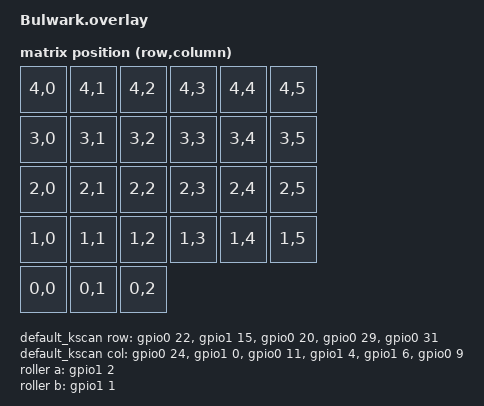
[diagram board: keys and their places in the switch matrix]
#include <dt-bindings/zmk/matrix_transform.h>

/ {

    //===========================================================

    chosen {
         zmk,kscan = &default_kscan;
         zmk,matrix_transform = &default_transform;
    };
    
    //===========================================================
    
    default_kscan: kscan {
        compatible = "zmk,kscan-gpio-matrix";
        label = "default_kscan";
        wakeup-source;
        
        diode-direction = "col2row";
        
        row-gpios
            = <&gpio0 22 (GPIO_ACTIVE_HIGH | GPIO_PULL_DOWN)> //Row 0 (D4)
            , <&gpio1 15 (GPIO_ACTIVE_HIGH | GPIO_PULL_DOWN)> //Row 1 (D18)
            , <&gpio0 20 (GPIO_ACTIVE_HIGH | GPIO_PULL_DOWN)> //Row 2 (D19)
            , <&gpio0 29 (GPIO_ACTIVE_HIGH | GPIO_PULL_DOWN)> //Row 3 (D20)
            , <&gpio0 31 (GPIO_ACTIVE_HIGH | GPIO_PULL_DOWN)> //Row 4 (D21)
            ;
        
        col-gpios
            = <&gpio0 24 (GPIO_ACTIVE_HIGH)> //Col 0 (D5)
            , <&gpio1 0  (GPIO_ACTIVE_HIGH)> //Col 1 (D6)
            , <&gpio0 11 (GPIO_ACTIVE_HIGH)> //Col 2 (D7)
            , <&gpio1 4  (GPIO_ACTIVE_HIGH)> //Col 3 (D8)
            , <&gpio1 6  (GPIO_ACTIVE_HIGH)> //Col 4 (D9)
            , <&gpio0 9  (GPIO_ACTIVE_HIGH)> //Col 5 (D10)
            ;
    };
    
    //===========================================================
    
    default_transform: matrix_transform {
        compatible = "zmk,matrix-transform";
        rows = <5>;
        columns = <6>;

// | R4C0 |  R4C1 |  R4C2 |  R4C3 |  R4C4 |  R4C5 |
// | R3C0 |  R3C1 |  R3C2 |  R3C3 |  R3C4 |  R3C5 |
// | R2C0 |  R2C1 |  R2C2 |  R2C3 |  R2C4 |  R2C5 |
// | R1C0 |  R1C1 |  R1C2 |  R1C3 |  R1C4 |  R1C5 |
// | R0C0 |  R0C1 |  R0C2 |

//removed RC(2,1) for debugging
        map = <
            RC(4,0) RC(4,1) RC(4,2) RC(4,3) RC(4,4) RC(4,5)
            RC(3,0) RC(3,1) RC(3,2) RC(3,3) RC(3,4) RC(3,5)
            RC(2,0) RC(2,1) RC(2,2) RC(2,3) RC(2,4) RC(2,5)
            RC(1,0) RC(1,1) RC(1,2) RC(1,3) RC(1,4) RC(1,5)
            RC(0,0) RC(0,1) RC(0,2)
        >;
    };
    //===========================================================
    
    roller: encoder {
        compatible = "alps,ec11";
        a-gpios = <&gpio1 2 (GPIO_ACTIVE_HIGH | GPIO_PULL_UP)>;
        b-gpios = <&gpio1 1 (GPIO_ACTIVE_HIGH | GPIO_PULL_UP)>;
        steps = <80>;
        status = "okay";
    };
        
    sensors: sensors {
        compatible = "zmk,keymap-sensors";
        sensors = <&roller>;
        triggers-per-rotation = <20>;
    };
};
